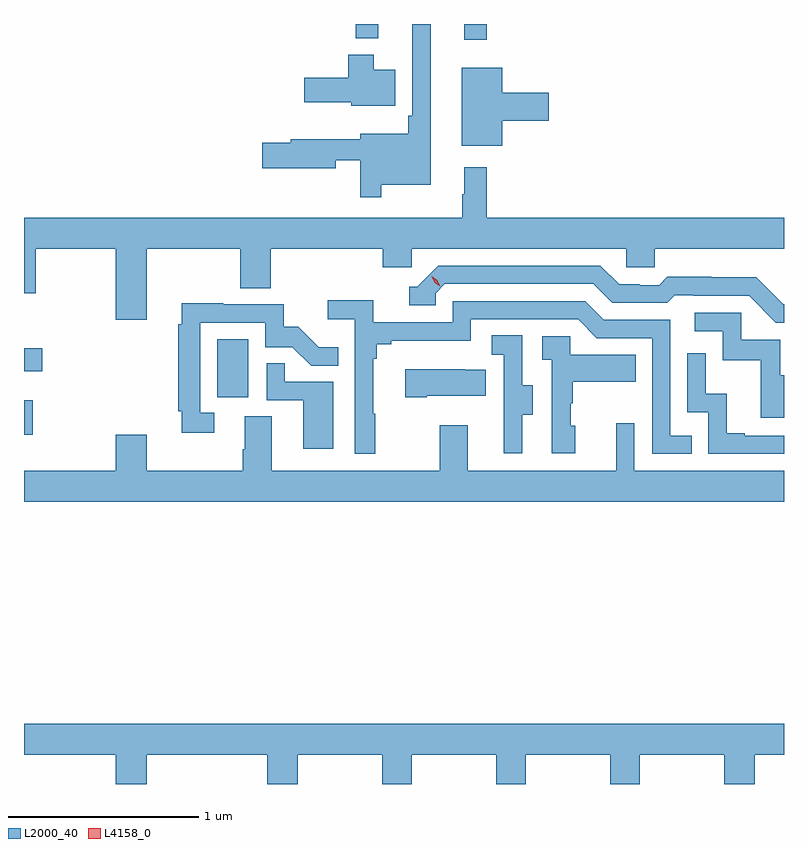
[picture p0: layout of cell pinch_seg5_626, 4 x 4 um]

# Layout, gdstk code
import gdstk
lib = gdstk.Library(unit=1e-6, precision=1e-09)
def R(c, l, rs):  # rectangles x0, y0, x1, y1
    for r in rs: c.add(gdstk.rectangle(r[:2], r[2:], *l))
def P(c, l, *ps):  # polygons
    for p in ps: c.add(gdstk.Polygon(p, *l))
L2000_40 = (2000, 40)
L4158_0 = (4158, 0)

pinch_seg5_626 = lib.new_cell('pinch_seg5_626')
R(pinch_seg5_626, L2000_40, [(1039.65,870.432,1039.696,870.615), (1040.666,870.63,1040.83,870.937), (1039.65,870.767,1039.747,870.889), (1041.968,872.511,1042.085,872.595), (1041.397,872.519,1041.515,872.595)])
P(pinch_seg5_626, L2000_40, [(1041.529,871.748),(1041.79,871.748),(1041.79,872.595),(1041.693,872.595),(1041.693,872.113),(1041.673,872.113),(1041.673,872.017),(1041.419,872.017),(1041.419,871.988),(1041.053,871.988),(1041.053,871.97),(1040.904,871.97),(1040.904,871.835),(1041.292,871.835),(1041.292,871.878),(1041.42,871.878),(1041.42,871.683),(1041.529,871.683)],
  [(1041.604,872.353),(1041.49,872.353),(1041.49,872.434),(1041.356,872.434),(1041.356,872.313),(1041.126,872.313),(1041.126,872.183),(1041.372,872.183),(1041.372,872.165),(1041.604,872.165)],
  [(1042.168,872.087),(1042.411,872.087),(1042.411,872.234),(1042.168,872.234),(1042.168,872.365),(1041.953,872.365),(1041.953,871.955),(1042.168,871.955)],
  [(1040.296,871.412),(1040.788,871.412),(1040.788,871.204),(1040.948,871.204),(1040.948,871.412),(1041.539,871.412),(1041.539,871.314),(1041.69,871.314),(1041.69,871.412),(1042.821,871.412),(1042.821,871.314),(1042.971,871.314),(1042.971,871.412),(1043.65,871.412),(1043.65,871.576),(1042.085,871.576),(1042.085,871.84),(1041.968,871.84),(1041.968,871.7),(1041.957,871.7),(1041.957,871.576),(1039.65,871.576),(1039.65,871.179),(1039.713,871.179),(1039.713,871.412),(1040.132,871.412),(1040.132,871.038),(1040.296,871.038)],
  [(1043.65,871.119),(1043.646,871.119),(1043.504,871.261),(1043.268,871.261),(1043.268,871.264),(1043.035,871.264),(1042.993,871.221),(1042.89,871.221),(1042.89,871.224),(1042.783,871.224),(1042.684,871.323),(1041.831,871.323),(1041.72,871.212),(1041.677,871.212),(1041.677,871.116),(1041.816,871.116),(1041.816,871.179),(1041.864,871.227),(1042.647,871.227),(1042.746,871.128),(1043.035,871.128),(1043.074,871.167),(1043.173,871.167),(1043.173,871.164),(1043.466,871.164),(1043.607,871.023),(1043.65,871.023)],
  [(1041.499,870.545),(1041.487,870.545),(1041.487,870.833),(1041.506,870.833),(1041.506,870.91),(1041.583,870.91),(1041.583,870.929),(1042.002,870.929),(1042.002,871.041),(1042.566,871.041),(1042.665,870.942),(1042.956,870.942),(1042.956,870.333),(1043.165,870.333),(1043.165,870.429),(1043.052,870.429),(1043.052,871.038),(1042.702,871.038),(1042.603,871.137),(1041.906,871.137),(1041.906,871.026),(1041.488,871.026),(1041.488,871.142),(1041.249,871.142),(1041.249,871.04),(1041.39,871.04),(1041.39,870.333),(1041.499,870.333)],
  [(1040.65,870.549),(1040.577,870.549),(1040.577,871.023),(1040.919,871.023),(1040.919,870.894),(1041.063,870.894),(1041.161,870.796),(1041.305,870.796),(1041.305,870.895),(1041.201,870.895),(1041.094,871.002),(1041.018,871.002),(1041.018,871.119),(1040.699,871.119),(1040.699,871.124),(1040.48,871.124),(1040.48,871.016),(1040.461,871.016),(1040.461,870.556),(1040.48,870.556),(1040.48,870.444),(1040.65,870.444)],
  [(1043.65,870.747),(1043.629,870.747),(1043.629,870.933),(1043.424,870.933),(1043.424,871.074),(1043.18,871.074),(1043.18,870.978),(1043.328,870.978),(1043.328,870.825),(1043.527,870.825),(1043.527,870.522),(1043.65,870.522)],
  [(1042.273,870.538),(1042.327,870.538),(1042.327,870.693),(1042.272,870.693),(1042.272,870.956),(1042.113,870.956),(1042.113,870.853),(1042.176,870.853),(1042.176,870.549),(1042.175,870.549),(1042.175,870.336),(1042.273,870.336)],
  [(1042.552,870.48),(1042.527,870.48),(1042.527,870.599),(1042.537,870.599),(1042.537,870.713),(1042.871,870.713),(1042.871,870.853),(1042.524,870.853),(1042.524,870.951),(1042.377,870.951),(1042.377,870.827),(1042.428,870.827),(1042.428,870.336),(1042.552,870.336)],
  [(1043.65,870.429),(1043.443,870.429),(1043.443,870.442),(1043.348,870.442),(1043.348,870.65),(1043.238,870.65),(1043.238,870.862),(1043.142,870.862),(1043.142,870.552),(1043.25,870.552),(1043.25,870.333),(1043.65,870.333)],
  [(1041.277,870.711),(1041.023,870.711),(1041.023,870.809),(1040.928,870.809),(1040.928,870.615),(1041.119,870.615),(1041.119,870.36),(1041.277,870.36)],
  [(1041.769,870.638),(1042.079,870.638),(1042.079,870.775),(1041.971,870.775),(1041.971,870.778),(1041.657,870.778),(1041.657,870.631),(1041.769,870.631)],
  [(1043.65,870.244),(1042.863,870.244),(1042.863,870.493),(1042.766,870.493),(1042.766,870.244),(1041.985,870.244),(1041.985,870.484),(1041.838,870.484),(1041.838,870.244),(1040.953,870.244),(1040.953,870.53),(1040.813,870.53),(1040.813,870.356),(1040.801,870.356),(1040.801,870.244),(1040.296,870.244),(1040.296,870.433),(1040.132,870.433),(1040.132,870.244),(1039.65,870.244),(1039.65,870.08),(1043.65,870.08)],
  [(1040.296,868.748),(1040.93,868.748),(1040.93,868.595),(1041.09,868.595),(1041.09,868.748),(1041.535,868.748),(1041.535,868.595),(1041.69,868.595),(1041.69,868.748),(1042.135,868.748),(1042.135,868.595),(1042.29,868.595),(1042.29,868.748),(1042.735,868.748),(1042.735,868.595),(1042.89,868.595),(1042.89,868.748),(1043.335,868.748),(1043.335,868.595),(1043.495,868.595),(1043.495,868.748),(1043.65,868.748),(1043.65,868.912),(1039.65,868.912),(1039.65,868.748),(1040.132,868.748),(1040.132,868.595),(1040.296,868.595)])
P(pinch_seg5_626, L4158_0, [(1041.842,871.214),(1041.811,871.234),(1041.795,871.267),(1041.795,871.267),(1041.795,871.267),(1041.826,871.247),(1041.842,871.215),(1041.842,871.214)])

lib.write_gds('pinch_seg5_626.gds')
